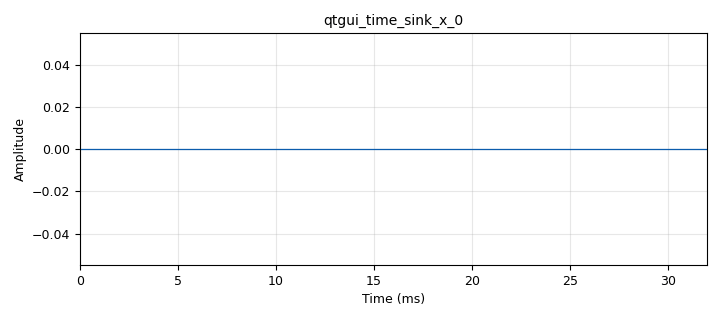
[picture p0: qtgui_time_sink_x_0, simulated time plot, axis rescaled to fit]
options:
  parameters:
    generate_options: qt_gui
    id: Practica1
    output_language: python
    title: Not titled yet
  states: {}

blocks:
- name: samp_rate
  id: variable
  parameters:
    value: '32000'
  states: {}
- name: Acumulador
  id: qtgui_number_sink
  parameters:
    graph_type: qtgui.NUM_GRAPH_HORIZ
    label1: Acumulador
    max: '100'
    min: '-100'
    type: float
    update_time: '0.1'
  states: {}
- name: Desviaciòn_Estandar
  id: qtgui_number_sink
  parameters:
    graph_type: qtgui.NUM_GRAPH_HORIZ
    label1: Desviaciòn Estandar
    max: '10'
    min: '-10'
    type: float
  states: {state: disabled}
- name: Media
  id: qtgui_number_sink
  parameters:
    graph_type: qtgui.NUM_GRAPH_HORIZ
    label1: Media
    max: '10'
    min: '-10'
    type: float
  states: {state: disabled}
- name: Media_Cuadratica
  id: qtgui_number_sink
  parameters:
    graph_type: qtgui.NUM_GRAPH_HORIZ
    label1: Media Cuadratica
    max: '10'
    min: '-10'
    type: float
  states: {state: disabled}
- name: Potencia_Promedio
  id: qtgui_number_sink
  parameters:
    graph_type: qtgui.NUM_GRAPH_HORIZ
    label1: Potencia Promedio
    max: '10'
    min: '-10'
    type: float
  states: {state: disabled}
- name: RMS
  id: qtgui_number_sink
  parameters:
    graph_type: qtgui.NUM_GRAPH_HORIZ
    label1: RMS
    max: '10'
    min: '-10'
    type: float
  states: {state: disabled}
- name: blocks_throttle_0
  id: blocks_throttle
  parameters:
    samples_per_second: samp_rate
    type: float
  states: {state: disabled}
- name: blocks_vector_source_x_0
  id: blocks_vector_source_x
  parameters:
    repeat: 'True'
    type: float
    vector: (5, 12, -8)
  states: {state: disabled}
- name: blocks_vector_source_x_0_0
  id: blocks_vector_source_x
  parameters:
    repeat: 'True'
    type: float
    vector: (2,5,8)
  states: {}
- name: blocks_vector_source_x_0_1
  id: blocks_vector_source_x
  parameters:
    repeat: 'True'
    type: float
    vector: (2, 0, 8)
  states: {state: disabled}
- name: epy_block_0
  id: epy_block
  parameters:
    _source_code: "import numpy as np\nfrom gnuradio import gr\nclass blk (gr. sync_block ):\n\tdef __init__ ( self ) : # only default arguments here\n\t\tgr. sync_block . __init__ (\n\t\t\tself ,\n\t\t\tname =\"Bloque acumulador\", # will show up in GRC\n\t\t\tin_sig =[ np. float32 ],\n\t\t\tout_sig =[ np. float32 ]\n\t\t)\n\t\t\n\tdef work (self , input_items , output_items ):\n\t\tx = input_items [0] # Senial de entrada .\n\t\ty0 = output_items [0] # Senial acumulada\n\n\t\tX_LIMITED = x[:3]\t\n\t\t\n\t\ty0 [:3] = np.cumsum(X_LIMITED)\n\t\t\n\t\treturn len(y0)\n\n"
  states: {}
- name: epy_block_1
  id: epy_block
  parameters:
    _source_code: "import numpy as np\nfrom gnuradio import gr\n\nclass DifferentiatorBlock(gr.sync_block):\n    def __init__(self):\n        gr.sync_block.__init__(\n            self,\n            name=\"DifferentiatorBlock\",  # Nombre que aparecerá en GRC\n            in_sig=[np.float32],\n            out_sig=[np.float32]\n        )\n        self._prev_cumsum = 0  # Variable para almacenar la suma acumulativa de la iteración anterior\n\n    def work(self, input_items, output_items):\n        x = input_items[0]  # Señal de entrada\n        y0 = output_items[0]  # Señal diferenciada\n        \n        # Limitar la entrada a los primeros 3 datos\n        X_LIMITED = x[:3]\n        \n        # Calcular la suma acumulativa de los datos limitados\n        cumsum = np.cumsum(X_LIMITED)\n        \n        # Calcular la diferencia entre la suma acumulativa actual y la suma acumulativa anterior\n        diff = cumsum - self._prev_cumsum\n        \n        # Actualizar el valor acumulado previo con la última suma acumulativa\n        self._prev_cumsum = cumsum[-1] if len(cumsum) > 0 else 0\n        \n        # Ajustar la salida para que coincida con la longitud de los datos limitados\n        y0[:len(diff)] = diff\n        \n        return len(output_items[0])\n\n"
  states: {state: disabled}
- name: epy_block_2
  id: epy_block
  parameters:
    _source_code: |
      import numpy as np
      from gnuradio import gr
      class blk (gr. sync_block ):
      	def __init__ ( self ) : # only default arguments here
      		gr. sync_block . __init__ (
      			self ,
      			name = "Promedios de tiempos", # will show up in GRC
      			in_sig =[ np. float32 ],
      			out_sig =[ np. float32 ,np. float32 ,np. float32 ,np. float32 ,np. float32 ]
      		)
      		self . acum_anterior = 0
      		self . Ntotales = 0
      		self . acum_anterior1 = 0
      		self . acum_anterior2 = 0
      	
      	def work (self , input_items , output_items ):
      		x = input_items [0] # Senial de entrada .
      		y0 = output_items [0] # Promedio de la senial
      		y1 = output_items [1] # Media de la senial
      		y2 = output_items [2] # RMS de la senial
      		y3 = output_items [3] # Potencia promedio de la senial
      		y4 = output_items [4] # Desviacion estandar de la senial

      		# Calculo del promedio
      		N = len (x)
      		self . Ntotales = self . Ntotales + N
      		acumulado = self . acum_anterior + np. cumsum (x)
      		self . acum_anterior = acumulado [N -1]
      		y0 [:]= acumulado / self . Ntotales
      	
      		# Calculo de la media cuadratica
      		x2=np. multiply (x,x)
      		acumulado1 = self . acum_anterior1 + np. cumsum (x2)
      		self . acum_anterior1 = acumulado [N -1]
      		y1 [:] = acumulado1 / self . Ntotales
      		
      		# Calculo de la RMS
      		y2 [:] = np. sqrt (y1)
      		
      		# Calculo de la potencia promedio
      		y3 [:] = np. multiply (y2 ,y2)
      		
      		# Calculo de la desviacion estandar
      		x3 = np. multiply (x-y0 ,x-y0)
      		acumulado2 = self . acum_anterior2 + np. cumsum (x3)
      		self . acum_anterior2 = acumulado2 [N -1]
      		y4 [:] = np. sqrt ( acumulado2 / self . Ntotales )
      		
      		return len (x)
  states: {state: disabled}
- name: qtgui_time_sink_x_0
  id: qtgui_time_sink_x
  parameters:
    size: '1024'
    srate: samp_rate
    type: float
  states: {}
- name: qtgui_time_sink_x_0_0
  id: qtgui_time_sink_x
  parameters:
    nconnections: '2'
    size: '1024'
    srate: samp_rate
    type: float
  states: {state: disabled}

connections:
- [blocks_throttle_0, '0', qtgui_time_sink_x_0_0, '0']
- [blocks_vector_source_x_0, '0', epy_block_2, '0']
- [blocks_vector_source_x_0_0, '0', epy_block_0, '0']
- [blocks_vector_source_x_0_1, '0', blocks_throttle_0, '0']
- [blocks_vector_source_x_0_1, '0', epy_block_1, '0']
- [epy_block_0, '0', Acumulador, '0']
- [epy_block_0, '0', qtgui_time_sink_x_0, '0']
- [epy_block_1, '0', qtgui_time_sink_x_0_0, '1']
- [epy_block_2, '0', Media, '0']
- [epy_block_2, '1', Media_Cuadratica, '0']
- [epy_block_2, '2', RMS, '0']
- [epy_block_2, '3', Potencia_Promedio, '0']
- [epy_block_2, '4', Desviaciòn_Estandar, '0']

metadata:
  file_format: 1
  grc_version: 3.9.8.0
